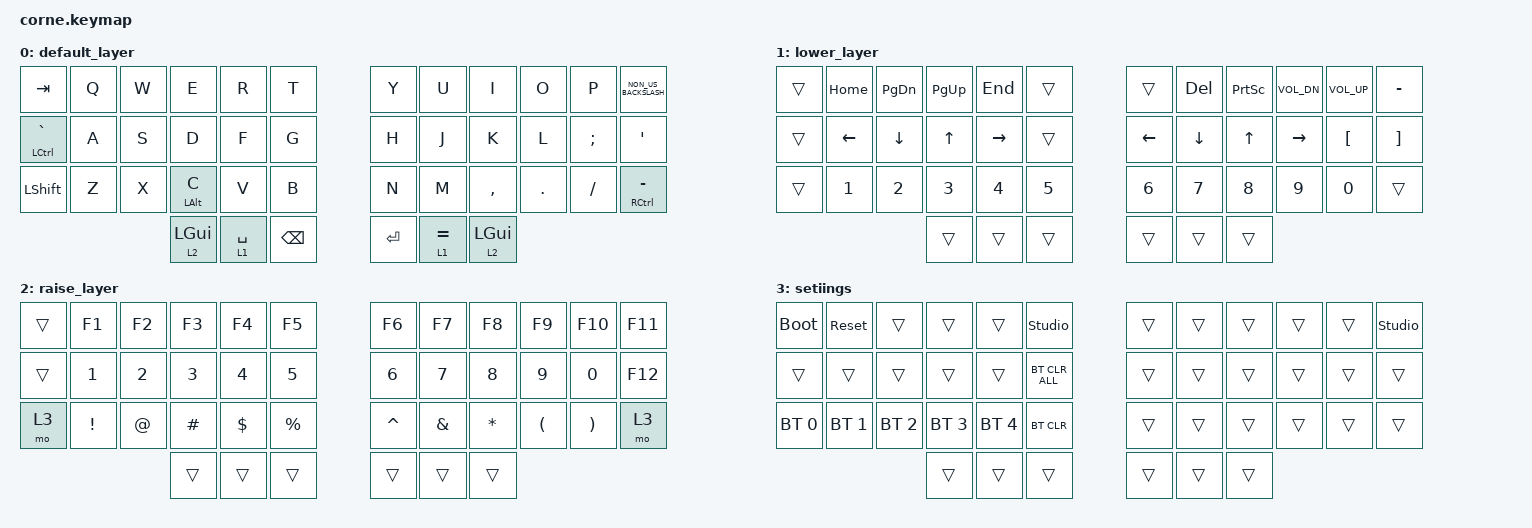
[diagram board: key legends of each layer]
/*
 * Copyright (c) 2020 The ZMK Contributors
 *
 * SPDX-License-Identifier: MIT
 */

#include <behaviors.dtsi>
#include <dt-bindings/zmk/bt.h>
#include <dt-bindings/zmk/keys.h>

/ {
    combos {
        compatible = "zmk,combos";

        new_combo {
            bindings = <&kp LEFT_WIN>;
            key-positions = <34 35>;
        };

        esc_tab_q {
            bindings = <&kp ESCAPE>;
            key-positions = <0 1>;
        };

        rightbrace {
            bindings = <&kp RIGHT_BRACKET>;
            key-positions = <33 34>;
        };

        leftbrace {
            bindings = <&kp LEFT_BRACKET>;
            key-positions = <33 32>;
        };

        caps_word {
            bindings = <&caps_word>;
            key-positions = <17 18>;
        };
    };

    keymap {
        compatible = "zmk,keymap";

        default_layer {
            // -----------------------------------------------------------------------------------------
            // |  TAB |  Q  |  W  |  E  |  R  |  T  |   |  Y  |  U   |  I  |  O  |  P  | BKSP |
            // | CTRL |  A  |  S  |  D  |  F  |  G  |   |  H  |  J   |  K  |  L  |  ;  |  '   |
            // | SHFT |  Z  |  X  |  C  |  V  |  B  |   |  N  |  M   |  ,  |  .  |  /  | ESC  |
            //                    | GUI | LWR | SPC |   | ENT | RSE  | ALT |

            bindings = <
&kp TAB          &kp Q  &kp W  &kp E           &kp R        &kp T            &kp Y    &kp U        &kp I           &kp O    &kp P     &kp NON_US_BACKSLASH
&mt LCTRL GRAVE  &kp A  &kp S  &kp D           &kp F        &kp G            &kp H    &kp J        &kp K           &kp L    &kp SEMI  &kp SQT
&kp LSHFT        &kp Z  &kp X  &mt LEFT_ALT C  &kp V        &kp B            &kp N    &kp M        &kp COMMA       &kp DOT  &kp FSLH  &mt RCTRL MINUS
                               &lt 2 LEFT_GUI  &lt 1 SPACE  &kp BACKSPACE    &kp RET  &lt 1 EQUAL  &lt 2 LEFT_GUI
            >;
        };

        lower_layer {
            // -----------------------------------------------------------------------------------------
            // |  TAB |  1  |  2  |  3  |  4  |  5  |   |  6  |  7  |  8  |  9  |  0  | BKSP |
            // | BTCLR| BT1 | BT2 | BT3 | BT4 | BT5 |   | LFT | DWN |  UP | RGT |     |      |
            // | SHFT |     |     |     |     |     |   |     |     |     |     |     |      |
            //                    | GUI |     | SPC |   | ENT |     | ALT |

            bindings = <
&trans  &kp HOME        &kp PAGE_DOWN  &kp PAGE_UP   &kp END          &trans          &trans        &kp DELETE    &kp PRINTSCREEN  &kp C_VOL_DN  &kp C_VOL_UP      &kp MINUS
&trans  &kp LEFT_ARROW  &kp DOWN       &kp UP_ARROW  &kp RIGHT_ARROW  &trans          &kp LEFT      &kp DOWN      &kp UP           &kp RIGHT     &kp LEFT_BRACKET  &kp RIGHT_BRACKET
&trans  &kp NUMBER_1    &kp NUMBER_2   &kp NUMBER_3  &kp NUMBER_4     &kp NUMBER_5    &kp NUMBER_6  &kp NUMBER_7  &kp NUMBER_8     &kp NUMBER_9  &kp NUMBER_0      &trans
                                       &trans        &trans           &trans          &trans        &trans        &trans
            >;
        };

        raise_layer {
            // -----------------------------------------------------------------------------------------
            // |  TAB |  !  |  @  |  #  |  $  |  %  |   |  ^  |  &  |  *  |  (  |  )  | BKSP |
            // | CTRL |     |     |     |     |     |   |  -  |  =  |  [  |  ]  |  \  |  `   |
            // | SHFT |     |     |     |     |     |   |  _  |  +  |  {  |  }  | "|" |  ~   |
            //                    | GUI |     | SPC |   | ENT |     | ALT |

            bindings = <
&trans  &kp F1        &kp F2        &kp F3        &kp F4        &kp F5          &kp F6        &kp F7        &kp F8        &kp F9                &kp F10                &kp F11
&trans  &kp NUMBER_1  &kp NUMBER_2  &kp NUMBER_3  &kp NUMBER_4  &kp NUMBER_5    &kp NUMBER_6  &kp NUMBER_7  &kp NUMBER_8  &kp NUMBER_9          &kp NUMBER_0           &kp F12
&mo 3   &kp EXCL      &kp AT        &kp HASH      &kp DOLLAR    &kp PERCENT     &kp CARET     &kp AMPS      &kp ASTRK     &kp LEFT_PARENTHESIS  &kp RIGHT_PARENTHESIS  &mo 3
                                    &trans        &trans        &trans          &trans        &trans        &trans
            >;
        };

        setiings {
            bindings = <
&bootloader   &sys_reset    &trans        &trans        &trans        &studio_unlock    &trans  &trans  &trans  &trans  &trans  &studio_unlock
&trans        &trans        &trans        &trans        &trans        &bt BT_CLR_ALL    &trans  &trans  &trans  &trans  &trans  &trans
&bt BT_SEL 0  &bt BT_SEL 1  &bt BT_SEL 2  &bt BT_SEL 3  &bt BT_SEL 4  &bt BT_CLR        &trans  &trans  &trans  &trans  &trans  &trans
                                          &trans        &trans        &trans            &trans  &trans  &trans
            >;
        };
    };
};
